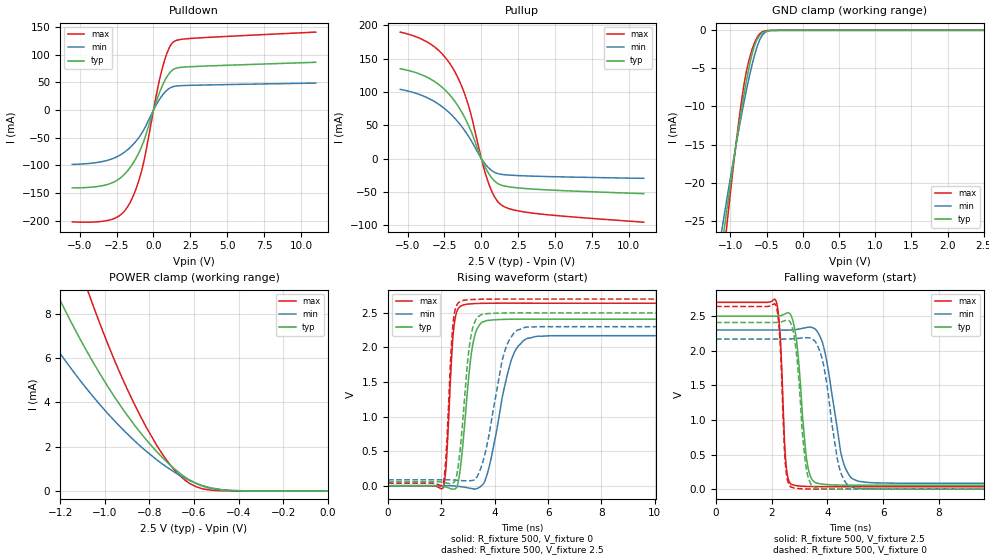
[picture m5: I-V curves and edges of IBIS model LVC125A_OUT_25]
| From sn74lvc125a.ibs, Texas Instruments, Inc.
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[Model]   LVC125A_OUT_25
Model_type  3-state
Enable   Active-Low
Vref =   0
Rref =   500
Cref =   30p
Vmeas =   1.25
| variable   typ   min   max
C_comp   4.05pF   3.65pF   4.38pF
| C_pullup   6.27pF   4.05pF   7.35pF
| C_pulldown   6.07pF   4.35pF   7.85pF
| C_tri-state   4.05pF   3.65pF   4.38pF
[Temperature Range]   40   100   -40
| Ambient temperature   25   85   -40
[Voltage range]   2.5   2.3   2.7
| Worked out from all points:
|   slope of the pulldown table from 0 to 0.375 V, typ, clamps not added: 12.7 ohm
|   slope of the pullup table from 0 to 0.375 V, typ, clamps not added: 21.1 ohm
|   GND clamp passes 1 mA (typ) near -0.62 V on its own axis
|   POWER clamp passes 1 mA (typ) near -0.69 V on its own axis
|   rising waveform, R_fixture 500, V_fixture 0: 20-80 % time 353ps typ, 675ps min, 210ps max; typ from 0 V to 2.41 V
|   falling waveform, R_fixture 500, V_fixture 2.5: 20-80 % time 292ps typ, 511ps min, 165ps max; typ from 2.5 V to 0.057 V
|   rising waveform, R_fixture 500, V_fixture 2.5: 20-80 % time 337ps typ, 634ps min, 206ps max; typ from 0.057 V to 2.5 V
|   falling waveform, R_fixture 500, V_fixture 0: 20-80 % time 286ps typ, 467ps min, 162ps max; typ from 2.41 V to 0 V
[GND Clamp]
| LVC125A_OUT_25
|   Voltage   I(typ)   I(min)   I(max)
-5.5V     -457.6mA   -381.7mA   -564.5mA
-1.12V    -28.55mA   -26.3mA    -32.02mA
-1.08V    -25.67mA   -23.92mA   -28.33mA
-1.045V   -23.2mA    -21.88mA   -25.19mA
-890mV    -12.97mA   -13.32mA   -12.35mA
-790mV    -7.195mA   -8.353mA   -5.903mA
-680mV    -2.39mA    -3.726mA   -1.939mA
-630mV    -1.168mA   -2.109mA   -900.1uA
-570mV    -420.2uA   -796.5uA   -252uA
-495mV    -83.45uA   -150.1uA   -30.52uA
-325mV    -774nA     -1.914uA   -52.78nA
2.5V      49.44pA    67.75nA    24.89pA
[POWER Clamp]
| LVC125A_OUT_25
|   Voltage   I(typ)   I(min)   I(max)
-5.5V     208.4mA    160.5mA    290.8mA
-1.39V    12.86mA    9.177mA    19.6mA
-1.355V   12.03mA    8.592mA    18.27mA
-1.2V     8.608mA    6.21mA     12.83mA
-1.08V    6.3mA      4.602mA    9.152mA
-1.05V    5.771mA    4.233mA    8.311mA
-935mV    3.926mA    2.94mA     5.396mA
-815mV    2.319mA    1.8mA      2.897mA
-730mV    1.389mA    1.131mA    1.49mA
-640mV    626uA      571.9uA    482.8uA
-475mV    34.86uA    56.1uA     7.124uA
-95.1fV   49.44pA    195.8pA    27.11pA
[Pulldown]
| LVC125A_OUT_25
|   Voltage   I(typ)   I(min)   I(max)
-5.5V     -140.6mA   -98.16mA   -202mA
-2.82V    -131.6mA   -88.22mA   -197.5mA
-2.16V    -120.8mA   -79.54mA   -187.9mA
-1.64V    -105.8mA   -68.95mA   -169.6mA
-1.155V   -85.66mA   -55.27mA   -140.4mA
-735mV    -61.43mA   -39.27mA   -102.6mA
225mV     18.4mA     11.29mA    31.73mA
640mV     46.48mA    28.12mA    79.56mA
1.01V     64.3mA     38.12mA    109.2mA
1.355V    73.66mA    42.66mA    123.3mA
2.625V    78.73mA    44.97mA    129.9mA
11V       86.54mA    48.96mA    141.1mA
[Pullup]
| LVC125A_OUT_25
|   Voltage   I(typ)   I(min)   I(max)
-5.5V     134.7mA    103.8mA    189.7mA
-3.345V   117.9mA    87.58mA    170.2mA
-2.565V   105mA      76.2mA     154.7mA
-1.89V    88.53mA    62.58mA    133.8mA
-1.37V    71.16mA    49.11mA    110.4mA
-905mV    51.29mA    34.59mA    81.75mA
75mV      -3.981mA   -2.542mA   -6.595mA
460mV     -21mA      -13.2mA    -35.2mA
885mV     -33.36mA   -20.44mA   -56.86mA
1.325V    -39.54mA   -23.46mA   -68.97mA
3.5V      -45.65mA   -26.26mA   -81.75mA
11V       -52.5mA    -29.58mA   -95.28mA
[Ramp]
| LVC125A_OUT_25
| variable   typ   min   max
dV/dt_r   1.47/3.69E-10   1.33/7.19E-10   1.61/2.23E-10
dV/dt_f   1.50/3.06E-10   1.36/5.53E-10   1.63/1.74E-10
R_load = 500
[Rising Waveform]
| LVC125A_OUT_25
R_fixture =   500
C_fixture =   0
L_fixture =   0
V_fixture =   0
V_fixture_min = 0
V_fixture_max = 0
|   Time   V(typ)   V(min)   V(max)
0s        169.4pV    3.663nV    17.91pV
2.07ns    -10.25mV   969uV      -29.71mV
2.47ns    -48.41mV   -3.256mV   2.303V
2.84ns    748.1mV    -20.24mV   2.618V
3.1ns     1.849V     -39.12mV   2.631V
3.35ns    2.279V     -38.8mV    2.636V
3.765ns   2.393V     233.9mV    2.64V
4.615ns   2.409V     1.811V     2.641V
5.255ns   2.41V      2.136V     2.64V
24.99ns   2.409V     2.169V     2.64V
[Falling Waveform]
| LVC125A_OUT_25
R_fixture =   500
C_fixture =   0
L_fixture =   0
V_fixture =   2.5
V_fixture_min = 2.3
V_fixture_max = 2.7
|   Time   V(typ)   V(min)   V(max)
0s        2.5V       2.3V       2.7V
2.165ns   2.5V       2.3V       2.712V
2.305ns   2.506V     2.299V     2.211V
2.515ns   2.54V      2.299V     352.2mV
2.795ns   2.376V     2.304V     56.63mV
3.255ns   426.7mV    2.336V     38.77mV
3.59ns    88.64mV    2.303V     36.45mV
4.55ns    57.36mV    416mV      35.78mV
5.105ns   56.56mV    113.5mV    35.86mV
24.99ns   57.33mV    84.96mV    35.94mV
[Rising Waveform]
| LVC125A_OUT_25
R_fixture =   500
C_fixture =   0
L_fixture =   0
V_fixture =   2.5
V_fixture_min = 2.3
V_fixture_max = 2.7
|   Time   V(typ)   V(min)   V(max)
0s        57.33mV    84.96mV    35.94mV
2.07ns    47.99mV    85.66mV    36.5mV
2.18ns    40.25mV    85.61mV    481.7mV
2.445ns   41.44mV    82.22mV    2.378V
2.815ns   1.004V     72.2mV     2.68V
3.05ns    2.023V     70.33mV    2.692V
3.31ns    2.416V     114mV      2.697V
4.385ns   2.499V     1.959V     2.7V
5.12ns    2.501V     2.29V      2.7V
24.99ns   2.5V       2.3V       2.7V
[Falling Waveform]
| LVC125A_OUT_25
R_fixture =   500
C_fixture =   0
L_fixture =   0
V_fixture =   0
V_fixture_min = 0
V_fixture_max = 0
|   Time   V(typ)   V(min)   V(max)
0s        2.409V     2.169V     2.64V
2.155ns   2.409V     2.169V     2.651V
2.3ns     2.415V     2.169V     2.124V
2.495ns   2.438V     2.169V     342.1mV
2.71ns    2.373V     2.171V     26.2mV
3.23ns    330.4mV    2.188V     2.479mV
3.6ns     15.9mV     2.109V     289.6uV
4.42ns    386.3uV    320mV      -176.2uV
4.93ns    -503.3uV   20.32mV    -105.8uV
24.99ns   -158.3pV   3.882nV    -111.2pV
